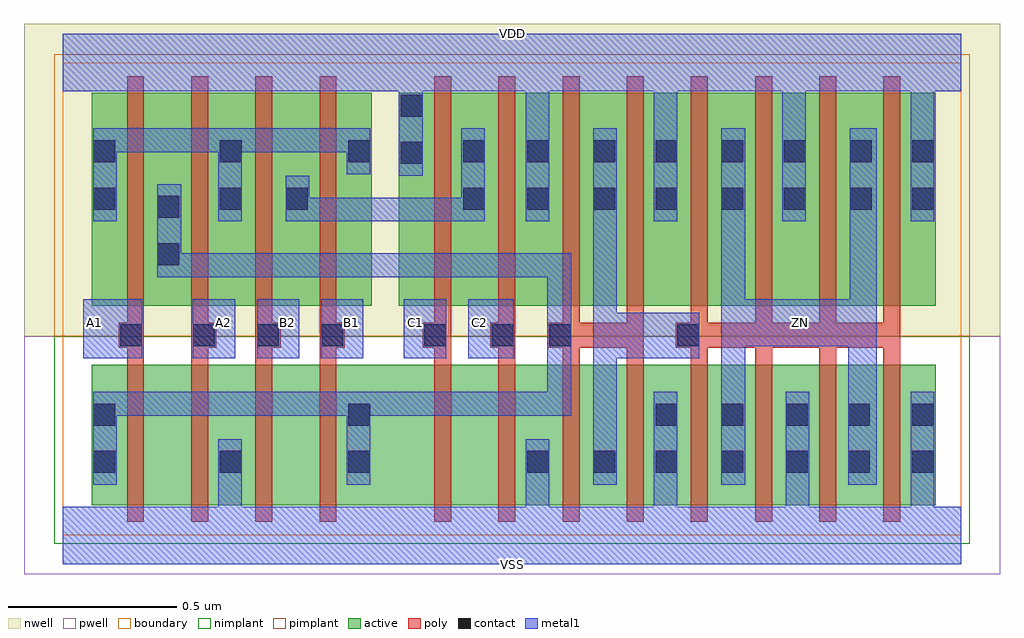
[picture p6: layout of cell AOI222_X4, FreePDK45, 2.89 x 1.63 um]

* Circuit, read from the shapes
.subckt AOI222_X4 A1 A2 B1 B2 C1 C2 VDD VSS ZN
M1 n1 A1 n2 VSUBS nfet w=0.415u l=0.05u
M2 VSS A2 n1 VSUBS nfet w=0.415u l=0.05u
M3 n3 B2 VSS VSUBS nfet w=0.415u l=0.05u
M4 n2 B1 n3 VSUBS nfet w=0.415u l=0.05u
M5 n4 C1 n2 VSUBS nfet w=0.415u l=0.05u
M6 VSS C2 n4 VSUBS nfet w=0.415u l=0.05u
M7 n5 n2 VSS VSUBS nfet w=0.415u l=0.05u m=2
M8 ZN n5 VSS VSUBS nfet w=0.415u l=0.05u m=4
M9 n2 A1 n6 n7 pfet w=0.63u l=0.05u
M10 n6 A2 n2 n7 pfet w=0.63u l=0.05u
M11 n8 B2 n6 n7 pfet w=0.63u l=0.05u
M12 n6 B1 n8 n7 pfet w=0.63u l=0.05u
M13 n8 C1 VDD n7 pfet w=0.63u l=0.05u
M14 VDD C2 n8 n7 pfet w=0.63u l=0.05u
M15 n5 n2 VDD n7 pfet w=0.63u l=0.05u m=2
M16 ZN n5 VDD n7 pfet w=0.63u l=0.05u m=4
.ends

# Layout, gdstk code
import gdstk
lib = gdstk.Library(unit=1e-6, precision=5e-10)
def R(c, l, rs):  # rectangles x0, y0, x1, y1
    for r in rs: c.add(gdstk.rectangle(r[:2], r[2:], *l))
def A(c, l, x, y, w, h, nx, ny, dx, dy):  # array of equal rectangles
    R(c, l, [(x+i*dx, y+j*dy, x+i*dx+w, y+j*dy+h) for i in range(nx) for j in range(ny)])
def P(c, l, *ps):  # polygons
    for p in ps: c.add(gdstk.Polygon(p, *l))
active = (1, 0)
pwell = (2, 0)
nwell = (3, 0)
nimplant = (4, 0)
pimplant = (5, 0)
poly = (9, 0)
contact = (10, 0)
metal1 = (11, 0)
boundary = (235, 0)

aoi222_x4 = lib.new_cell('AOI222_X4')
R(aoi222_x4, active, [(0.085,0.09,2.585,0.505), (0.085,0.68,0.915,1.31), (0.995,0.68,2.585,1.31)])
R(aoi222_x4, pwell, [(-0.115,-0.115,2.775,0.59)])
R(aoi222_x4, nwell, [(-0.115,0.59,2.775,1.515)])
R(aoi222_x4, nimplant, [(-0.025,-0.025,2.685,0.59)])
R(aoi222_x4, pimplant, [(-0.025,0.59,2.685,1.425)])
P(aoi222_x4, poly, [(1.815,0.555),(1.86,0.555),(1.86,0.04),(1.91,0.04),(1.91,0.555),(2.05,0.555),(2.05,0.04),(2.1,0.04),(2.1,0.555),(2.24,0.555),(2.24,0.04),(2.29,0.04),(2.29,0.555),(2.43,0.555),(2.43,0.04),(2.48,0.04),(2.48,1.36),(2.43,1.36),(2.43,0.63),(2.29,0.63),(2.29,1.36),(2.24,1.36),(2.24,0.63),(2.1,0.63),(2.1,1.36),(2.05,1.36),(2.05,0.63),(1.91,0.63),(1.91,1.36),(1.86,1.36),(1.86,0.63),(1.815,0.63)],
  [(1.435,0.555),(1.48,0.555),(1.48,0.04),(1.53,0.04),(1.53,0.555),(1.67,0.555),(1.67,0.04),(1.72,0.04),(1.72,1.36),(1.67,1.36),(1.67,0.63),(1.53,0.63),(1.53,1.36),(1.48,1.36),(1.48,0.63),(1.435,0.63)],
  [(1.265,0.555),(1.29,0.555),(1.29,0.04),(1.34,0.04),(1.34,1.36),(1.29,1.36),(1.29,0.63),(1.265,0.63)],
  [(1.065,0.555),(1.1,0.555),(1.1,0.04),(1.15,0.04),(1.15,1.36),(1.1,1.36),(1.1,0.63),(1.065,0.63)],
  [(0.76,0.04),(0.81,0.04),(0.81,0.555),(0.835,0.555),(0.835,0.63),(0.81,0.63),(0.81,1.36),(0.76,1.36)],
  [(0.57,0.04),(0.62,0.04),(0.62,0.555),(0.645,0.555),(0.645,0.63),(0.62,0.63),(0.62,1.36),(0.57,1.36)],
  [(0.38,0.04),(0.43,0.04),(0.43,0.555),(0.455,0.555),(0.455,0.63),(0.43,0.63),(0.43,1.36),(0.38,1.36)],
  [(0.165,0.555),(0.19,0.555),(0.19,0.04),(0.24,0.04),(0.24,1.36),(0.19,1.36),(0.19,0.63),(0.165,0.63)])
A(aoi222_x4, contact, 0.385, 0.56, 0.065, 0.065, 3, 1, 0.19, 0)
R(aoi222_x4, contact, [(0.09,0.185,0.155,0.25), (0.465,0.185,0.53,0.25), (0.845,0.185,0.91,0.25), (1.375,0.185,1.44,0.25), (1.57,0.185,1.635,0.25), (1.755,0.185,1.82,0.25), (1.95,0.185,2.015,0.25), (2.14,0.185,2.205,0.25), (2.325,0.185,2.39,0.25), (2.515,0.185,2.58,0.25), (0.09,0.325,0.155,0.39), (0.845,0.325,0.91,0.39), (1.755,0.325,1.82,0.39), (1.95,0.325,2.015,0.39), (2.14,0.325,2.205,0.39), (2.325,0.325,2.39,0.39), (2.515,0.325,2.58,0.39), (0.17,0.56,0.235,0.625), (1.07,0.56,1.135,0.625), (1.27,0.56,1.335,0.625), (1.44,0.56,1.505,0.625), (1.82,0.56,1.885,0.625), (0.28,0.8,0.345,0.865), (0.28,0.94,0.345,1.005), (0.09,0.965,0.155,1.03), (0.465,0.965,0.53,1.03), (0.66,0.965,0.725,1.03), (1.185,0.965,1.25,1.03), (1.375,0.965,1.44,1.03), (1.57,0.965,1.635,1.03), (1.755,0.965,1.82,1.03), (1.95,0.965,2.015,1.03), (2.135,0.965,2.2,1.03), (2.33,0.965,2.395,1.03), (2.515,0.965,2.58,1.03), (1,1.1,1.065,1.165), (0.09,1.105,0.155,1.17), (0.465,1.105,0.53,1.17), (0.845,1.105,0.91,1.17), (1.185,1.105,1.25,1.17), (1.375,1.105,1.44,1.17), (1.57,1.105,1.635,1.17), (1.755,1.105,1.82,1.17), (1.95,1.105,2.015,1.17), (2.135,1.105,2.2,1.17), (2.33,1.105,2.395,1.17), (2.515,1.105,2.58,1.17), (1,1.24,1.065,1.305)])
R(aoi222_x4, metal1, [(0.06,0.525,0.235,0.7), (0.06,0.525,0.235,0.7), (0.385,0.525,0.51,0.7), (0.385,0.525,0.51,0.7), (0.575,0.525,0.7,0.7), (0.575,0.525,0.7,0.7), (0.765,0.525,0.89,0.7), (0.765,0.525,0.89,0.7), (1.01,0.525,1.135,0.7), (1.01,0.525,1.135,0.7), (1.2,0.525,1.335,0.7), (1.2,0.525,1.335,0.7)])
P(aoi222_x4, metal1, [(0,-0.085),(2.66,-0.085),(2.66,0.085),(2.58,0.085),(2.58,0.425),(2.51,0.425),(2.51,0.085),(2.21,0.085),(2.21,0.425),(2.14,0.425),(2.14,0.085),(1.82,0.085),(1.82,0.425),(1.75,0.425),(1.75,0.085),(1.44,0.085),(1.44,0.285),(1.37,0.285),(1.37,0.085),(0.53,0.085),(0.53,0.285),(0.46,0.285),(0.46,0.085),(0,0.085)],
  [(0,1.315),(0.995,1.315),(0.995,1.065),(1.065,1.065),(1.065,1.315),(1.37,1.315),(1.37,0.93),(1.44,0.93),(1.44,1.315),(1.75,1.315),(1.75,0.93),(1.82,0.93),(1.82,1.315),(2.13,1.315),(2.13,0.93),(2.2,0.93),(2.2,1.315),(2.51,1.315),(2.51,0.93),(2.58,0.93),(2.58,1.315),(2.66,1.315),(2.66,1.485),(0,1.485)],
  [(1.95,0.15),(2.02,0.15),(2.02,0.56),(2.325,0.56),(2.325,0.15),(2.41,0.15),(2.41,1.205),(2.33,1.205),(2.33,0.7),(2.02,0.7),(2.02,1.205),(1.95,1.205)],
  [(0,1.315),(0.995,1.315),(0.995,1.065),(1.065,1.065),(1.065,1.315),(1.37,1.315),(1.37,0.93),(1.44,0.93),(1.44,1.315),(1.75,1.315),(1.75,0.93),(1.82,0.93),(1.82,1.315),(2.13,1.315),(2.13,0.93),(2.2,0.93),(2.2,1.315),(2.51,1.315),(2.51,0.93),(2.58,0.93),(2.58,1.315),(2.66,1.315),(2.66,1.485),(0,1.485)],
  [(0,-0.085),(2.66,-0.085),(2.66,0.085),(2.58,0.085),(2.58,0.425),(2.51,0.425),(2.51,0.085),(2.21,0.085),(2.21,0.425),(2.14,0.425),(2.14,0.085),(1.82,0.085),(1.82,0.425),(1.75,0.425),(1.75,0.085),(1.44,0.085),(1.44,0.285),(1.37,0.285),(1.37,0.085),(0.53,0.085),(0.53,0.285),(0.46,0.285),(0.46,0.085),(0,0.085)],
  [(1.95,0.15),(2.02,0.15),(2.02,0.56),(2.325,0.56),(2.325,0.15),(2.41,0.15),(2.41,1.205),(2.33,1.205),(2.33,0.7),(2.02,0.7),(2.02,1.205),(1.95,1.205)],
  [(1.57,0.15),(1.64,0.15),(1.64,0.525),(1.885,0.525),(1.885,0.66),(1.64,0.66),(1.64,1.205),(1.57,1.205)],
  [(0.28,0.765),(1.435,0.765),(1.435,0.425),(0.09,0.425),(0.09,0.15),(0.16,0.15),(0.16,0.355),(0.84,0.355),(0.84,0.15),(0.91,0.15),(0.91,0.355),(1.505,0.355),(1.505,0.835),(0.35,0.835),(0.35,1.04),(0.28,1.04)],
  [(0.66,0.93),(1.25,0.93),(1.25,1.205),(1.18,1.205),(1.18,1),(0.73,1),(0.73,1.065),(0.66,1.065)],
  [(0.09,0.93),(0.16,0.93),(0.16,1.135),(0.46,1.135),(0.46,0.93),(0.53,0.93),(0.53,1.135),(0.84,1.135),(0.84,1.07),(0.91,1.07),(0.91,1.205),(0.09,1.205)])
R(aoi222_x4, boundary, [(0,0,2.66,1.4)])
aoi222_x4.add(gdstk.Label('ZN', (2.185,0.63), layer=11, texttype=0))
aoi222_x4.add(gdstk.Label('VSS', (1.33,-0.085), layer=11, texttype=0))
aoi222_x4.add(gdstk.Label('VDD', (1.33,1.485), layer=11, texttype=0))
aoi222_x4.add(gdstk.Label('C2', (1.235,0.63), layer=11, texttype=0))
aoi222_x4.add(gdstk.Label('C1', (1.045,0.63), layer=11, texttype=0))
aoi222_x4.add(gdstk.Label('B2', (0.665,0.63), layer=11, texttype=0))
aoi222_x4.add(gdstk.Label('B1', (0.855,0.63), layer=11, texttype=0))
aoi222_x4.add(gdstk.Label('A2', (0.475,0.63), layer=11, texttype=0))
aoi222_x4.add(gdstk.Label('A1', (0.095,0.63), layer=11, texttype=0))

lib.write_gds('AOI222_X4.gds')
